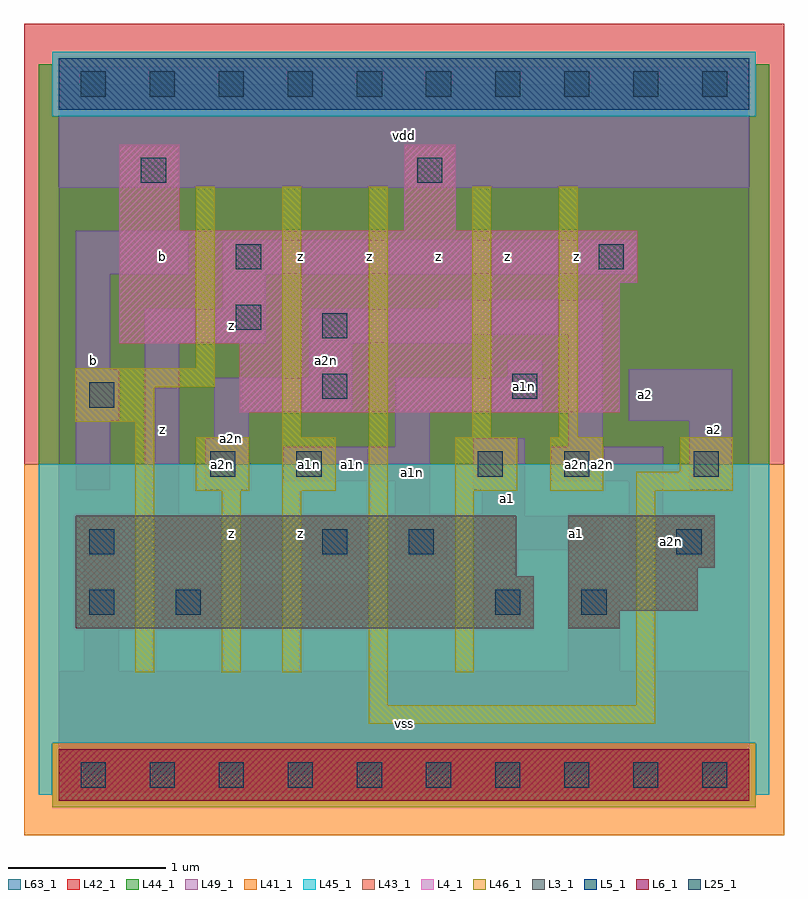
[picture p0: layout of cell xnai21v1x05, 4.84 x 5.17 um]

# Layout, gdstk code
import gdstk
lib = gdstk.Library(unit=1e-6, precision=1e-09)
def R(c, l, rs):  # rectangles x0, y0, x1, y1
    for r in rs: c.add(gdstk.rectangle(r[:2], r[2:], *l))
def A(c, l, x, y, w, h, nx, ny, dx, dy):  # array of equal rectangles
    R(c, l, [(x+i*dx, y+j*dy, x+i*dx+w, y+j*dy+h) for i in range(nx) for j in range(ny)])
L3_1 = (3, 1)
L4_1 = (4, 1)
L5_1 = (5, 1)
L6_1 = (6, 1)
L25_1 = (25, 1)
L41_1 = (41, 1)
L42_1 = (42, 1)
L43_1 = (43, 1)
L44_1 = (44, 1)
L45_1 = (45, 1)
L46_1 = (46, 1)
L49_1 = (49, 1)
L63_1 = (63, 1)

xnai21v1x05 = lib.new_cell('xnai21v1x05')
R(xnai21v1x05, L3_1, [(0.11,0.935,3.025,1.265), (3.245,0.935,3.575,1.045), (3.245,1.045,4.07,1.32), (0.11,1.265,2.915,1.65), (3.245,1.32,4.18,1.65)])
R(xnai21v1x05, L4_1, [(1.155,2.31,3.575,2.75), (0.385,2.75,3.575,3.135), (0.385,3.135,3.685,3.465), (0.385,3.465,0.77,4.015), (2.2,3.465,2.53,4.015)])
R(xnai21v1x05, L5_1, [(0,4.235,4.4,4.565)])
R(xnai21v1x05, L6_1, [(0,-0.165,4.4,0.165)])
A(xnai21v1x05, L25_1, 0.14, -0.08, 0.16, 0.16, 10, 2, 0.44, 4.4)
R(xnai21v1x05, L25_1, [(0.195,1.02,0.355,1.18), (0.745,1.02,0.905,1.18), (2.78,1.02,2.94,1.18), (3.33,1.02,3.49,1.18), (0.195,1.405,0.355,1.565), (1.68,1.405,1.84,1.565), (2.23,1.405,2.39,1.565), (3.935,1.405,4.095,1.565), (0.965,1.9,1.125,2.06), (1.515,1.9,1.675,2.06), (2.67,1.9,2.83,2.06), (3.22,1.9,3.38,2.06), (4.045,1.9,4.205,2.06), (0.195,2.34,0.355,2.5), (1.68,2.395,1.84,2.555), (2.89,2.395,3.05,2.555), (1.68,2.78,1.84,2.94), (1.13,2.835,1.29,2.995), (1.13,3.22,1.29,3.38), (3.44,3.22,3.6,3.38), (0.525,3.77,0.685,3.93), (2.285,3.77,2.445,3.93)])
R(xnai21v1x05, L41_1, [(-0.22,-0.385,4.62,1.98)])
R(xnai21v1x05, L42_1, [(-0.22,1.98,4.62,4.785)])
R(xnai21v1x05, L43_1, [(0,-0.165,4.4,0.165), (0.11,0.935,3.025,1.265), (3.245,0.935,3.575,1.045), (3.245,1.045,4.07,1.32), (0.11,1.265,2.915,1.65), (3.245,1.32,4.18,1.65), (1.155,2.31,3.575,2.75), (0.385,2.75,3.575,3.135), (0.385,3.135,3.685,3.465), (0.385,3.465,0.77,4.015), (2.2,3.465,2.53,4.015), (0,4.235,4.4,4.565)])
R(xnai21v1x05, L44_1, [(-0.04,-0.205,4.44,0.205), (-0.125,1.98,4.525,4.195), (-0.125,4.195,-0.04,4.525), (4.44,4.195,4.525,4.525)])
R(xnai21v1x05, L45_1, [(-0.125,-0.125,-0.04,0.205), (4.44,-0.125,4.525,0.205), (-0.125,0.205,4.525,1.98), (-0.04,4.195,4.44,4.605)])
R(xnai21v1x05, L46_1, [(1.975,0.325,3.8,0.445), (1.975,0.445,2.095,3.745), (3.68,0.445,3.8,1.81), (0.49,0.655,0.61,2.25), (1.04,0.655,1.16,1.81), (1.425,0.655,1.545,1.81), (2.525,0.655,2.645,1.81), (0.875,1.81,1.215,2.15), (1.425,1.81,1.765,2.15), (2.525,1.81,2.92,2.15), (3.13,1.81,3.47,2.15), (3.68,1.81,4.295,1.93), (3.955,1.93,4.295,2.15), (1.425,2.15,1.545,3.745), (2.635,2.15,2.755,3.745), (3.185,2.15,3.305,3.745), (0.105,2.25,0.61,2.47), (0.105,2.47,0.995,2.59), (0.875,2.59,0.995,3.745)])
R(xnai21v1x05, L49_1, [(0,-0.11,4.4,0.66), (0.165,0.66,0.385,1.65), (3.245,0.66,3.575,1.21), (0.66,0.99,3.025,1.21), (1.595,1.375,1.925,1.43), (2.145,1.375,2.475,1.595), (3.63,1.375,4.18,1.595), (0.55,1.43,1.925,1.65), (2.695,1.43,3.465,1.65), (2.145,1.595,2.365,1.87), (3.63,1.595,3.85,1.87), (0.55,1.65,0.77,2.75), (2.695,1.65,2.97,1.815), (0.11,1.815,0.33,2.255), (0.935,1.815,1.21,2.145), (2.64,1.815,2.97,2.145), (4.015,1.815,4.29,2.255), (1.43,1.87,2.365,2.09), (3.135,1.87,3.85,2.09), (2.145,2.09,2.365,2.31), (3.245,2.09,3.465,2.805), (0.99,2.145,1.21,2.31), (0.11,2.255,0.385,2.585), (3.63,2.255,4.29,2.585), (0.99,2.31,1.87,2.53), (2.145,2.31,3.08,2.53), (1.595,2.53,1.87,2.75), (2.86,2.53,3.08,2.64), (0.11,2.585,0.33,3.19), (0.55,2.75,1.32,2.97), (1.595,2.75,2.64,2.805), (1.595,2.805,3.465,2.97), (1.045,2.97,1.32,3.19), (2.42,2.97,3.465,3.025), (0.11,3.19,0.825,3.465), (1.045,3.19,3.685,3.41), (0,3.74,4.4,4.51)])
R(xnai21v1x05, L63_1, [(0,0,4.4,4.4)])
xnai21v1x05.add(gdstk.Label('a2n', (1.045,1.98), layer=49, texttype=1))
xnai21v1x05.add(gdstk.Label('a1n', (1.595,1.98), layer=49, texttype=1))
xnai21v1x05.add(gdstk.Label('a2n', (3.3,1.98), layer=49, texttype=1))
xnai21v1x05.add(gdstk.Label('b', (0.22,2.64), layer=49, texttype=1))
xnai21v1x05.add(gdstk.Label('z', (1.54,1.54), layer=49, texttype=1))
xnai21v1x05.add(gdstk.Label('z', (1.1,1.54), layer=49, texttype=1))
xnai21v1x05.add(gdstk.Label('a2n', (1.1,2.145), layer=49, texttype=1))
xnai21v1x05.add(gdstk.Label('z', (0.66,2.2), layer=49, texttype=1))
xnai21v1x05.add(gdstk.Label('z', (1.1,2.86), layer=49, texttype=1))
xnai21v1x05.add(gdstk.Label('b', (0.66,3.3), layer=49, texttype=1))
xnai21v1x05.add(gdstk.Label('z', (1.54,3.3), layer=49, texttype=1))
xnai21v1x05.add(gdstk.Label('vss', (2.2,0.33), layer=49, texttype=1))
xnai21v1x05.add(gdstk.Label('a1n', (2.255,1.925), layer=49, texttype=1))
xnai21v1x05.add(gdstk.Label('a1n', (1.87,1.98), layer=49, texttype=1))
xnai21v1x05.add(gdstk.Label('a2n', (1.705,2.64), layer=49, texttype=1))
xnai21v1x05.add(gdstk.Label('z', (1.98,3.3), layer=49, texttype=1))
xnai21v1x05.add(gdstk.Label('z', (2.42,3.3), layer=49, texttype=1))
xnai21v1x05.add(gdstk.Label('vdd', (2.2,4.07), layer=49, texttype=1))
xnai21v1x05.add(gdstk.Label('a1', (3.3,1.54), layer=49, texttype=1))
xnai21v1x05.add(gdstk.Label('a1', (2.86,1.76), layer=49, texttype=1))
xnai21v1x05.add(gdstk.Label('a1n', (2.97,2.475), layer=49, texttype=1))
xnai21v1x05.add(gdstk.Label('z', (2.86,3.3), layer=49, texttype=1))
xnai21v1x05.add(gdstk.Label('z', (3.3,3.3), layer=49, texttype=1))
xnai21v1x05.add(gdstk.Label('a2n', (3.905,1.485), layer=49, texttype=1))
xnai21v1x05.add(gdstk.Label('a2', (3.74,2.42), layer=49, texttype=1))
xnai21v1x05.add(gdstk.Label('a2n', (3.465,1.98), layer=49, texttype=1))
xnai21v1x05.add(gdstk.Label('a2', (4.18,2.2), layer=49, texttype=1))

lib.write_gds('xnai21v1x05.gds')
